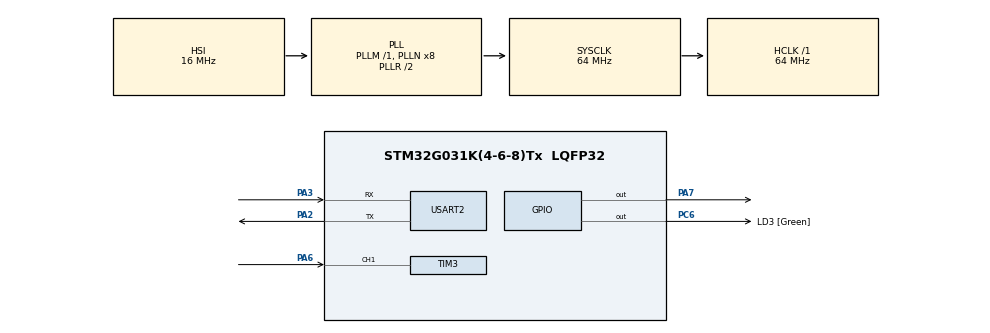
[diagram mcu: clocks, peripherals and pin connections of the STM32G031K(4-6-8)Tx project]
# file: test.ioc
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Mcu.Family=STM32G0
Mcu.Name=STM32G031K(4-6-8)Tx
Mcu.Package=LQFP32
NVIC.TIM3_IRQn=true\:0\:0\:false\:false\:true\:true\:true\:true
PA2.Mode=Asynchronous
PA2.Signal=USART2_TX
PA3.Mode=Asynchronous
PA3.Signal=USART2_RX
PA6.Signal=S_TIM3_CH1
PA7.Signal=GPIO_Output
PC6.GPIO_Label=LD3 [Green]
PC6.Signal=GPIO_Output
ProjectManager.HeapSize=0x200
ProjectManager.StackSize=0x400
ProjectManager.TargetToolchain=STM32CubeIDE
RCC.ADCFreq_Value=64000000
RCC.AHBFreq_Value=64000000
RCC.CortexFreq_Value=64000000
RCC.EXTERNAL_CLOCK_VALUE=12288000
RCC.HCLKFreq_Value=64000000
RCC.HSE_VALUE=8000000
RCC.HSI_VALUE=16000000
RCC.SYSCLKFreq_VALUE=64000000
RCC.SYSCLKSource=RCC_SYSCLKSOURCE_PLLCLK
RCC.VCOOutputFreq_Value=128000000
SH.S_TIM3_CH1.0=TIM3_CH1,Input_Capture1_from_TI1
TIM3.Channel-Input_Capture1_from_TI1=TIM_CHANNEL_1
TIM3.ICPolarity_CH1=TIM_INPUTCHANNELPOLARITY_BOTHEDGE
TIM3.Period=0xffff
TIM3.Prescaler=63
USART2.VirtualMode-Asynchronous=VM_ASYNC
board=NUCLEO-G031K8

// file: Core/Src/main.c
/* USER CODE BEGIN Header */
/**
  ******************************************************************************
  * @file           : main.c
  * @brief          : Main program body
  ******************************************************************************
  * @attention
  *
  * Copyright (c) 2026 STMicroelectronics.
  * All rights reserved.
  *
  * This software is licensed under terms that can be found in the LICENSE file
  * in the root directory of this software component.
  * If no LICENSE file comes with this software, it is provided AS-IS.
  *
  ******************************************************************************
  */
/* USER CODE END Header */
#include "main.h"
#include <stdio.h>

TIM_HandleTypeDef htim3;

UART_HandleTypeDef huart2;

/* USER CODE BEGIN PV */
uint32_t ic_val1 = 0, ic_val2 = 0;
uint8_t is_first_captured = 0;
float distance_cm = 0;
uint32_t last_trigger_tick = 0;
char uart_buf[32];
/* USER CODE END PV */

void SystemClock_Config(void);
static void MX_GPIO_Init(void);
static void MX_TIM3_Init(void);
static void MX_USART2_UART_Init(void);

int main(void)
{

  /* MCU Configuration--------------------------------------------------------*/

  /* Reset of all peripherals, Initializes the Flash interface and the Systick. */
  HAL_Init();

  /* Configure the system clock */
  SystemClock_Config();

  /* Initialize all configured peripherals */
  MX_GPIO_Init();
  MX_TIM3_Init();
  MX_USART2_UART_Init();

  /* Infinite loop */
  while (1)
  {

    /* USER CODE BEGIN 3 */
	  if (HAL_GetTick() - last_trigger_tick >= 40)
	  {
	    last_trigger_tick = HAL_GetTick();

	    HAL_GPIO_WritePin(GPIOA, GPIO_PIN_7, GPIO_PIN_SET);
	    for (volatile int i = 0; i < 160; i++); // ~10us trigger pulse
	    HAL_GPIO_WritePin(GPIOA, GPIO_PIN_7, GPIO_PIN_RESET);

	    int len = sprintf(uart_buf, "Distance: %.1f cm\r\n", distance_cm);
	    HAL_UART_Transmit(&huart2, (uint8_t*)uart_buf, len, 10);
	  }
  }
  /* USER CODE END 3 */
}

void SystemClock_Config(void)
{
  RCC_OscInitTypeDef RCC_OscInitStruct = {0};
  RCC_ClkInitTypeDef RCC_ClkInitStruct = {0};

  /** Configure the main internal regulator output voltage
  */
  HAL_PWREx_ControlVoltageScaling(PWR_REGULATOR_VOLTAGE_SCALE1);

  /** Initializes the RCC Oscillators according to the specified parameters
  * in the RCC_OscInitTypeDef structure.
  */
  RCC_OscInitStruct.OscillatorType = RCC_OSCILLATORTYPE_HSI;
  RCC_OscInitStruct.HSIState = RCC_HSI_ON;
  RCC_OscInitStruct.HSIDiv = RCC_HSI_DIV1;
  RCC_OscInitStruct.HSICalibrationValue = RCC_HSICALIBRATION_DEFAULT;
  RCC_OscInitStruct.PLL.PLLState = RCC_PLL_ON;
  RCC_OscInitStruct.PLL.PLLSource = RCC_PLLSOURCE_HSI;
  RCC_OscInitStruct.PLL.PLLM = RCC_PLLM_DIV1;
  RCC_OscInitStruct.PLL.PLLN = 8;
  RCC_OscInitStruct.PLL.PLLP = RCC_PLLP_DIV2;
  RCC_OscInitStruct.PLL.PLLQ = RCC_PLLQ_DIV2;
  RCC_OscInitStruct.PLL.PLLR = RCC_PLLR_DIV2;
  if (HAL_RCC_OscConfig(&RCC_OscInitStruct) != HAL_OK)
  {
    Error_Handler();
  }

  /** Initializes the CPU, AHB and APB buses clocks
  */
  RCC_ClkInitStruct.ClockType = RCC_CLOCKTYPE_HCLK|RCC_CLOCKTYPE_SYSCLK
                              |RCC_CLOCKTYPE_PCLK1;
  RCC_ClkInitStruct.SYSCLKSource = RCC_SYSCLKSOURCE_PLLCLK;
  RCC_ClkInitStruct.AHBCLKDivider = RCC_SYSCLK_DIV1;
  RCC_ClkInitStruct.APB1CLKDivider = RCC_HCLK_DIV1;

  if (HAL_RCC_ClockConfig(&RCC_ClkInitStruct, FLASH_LATENCY_2) != HAL_OK)
  {
    Error_Handler();
  }
}

static void MX_TIM3_Init(void)
{

  TIM_MasterConfigTypeDef sMasterConfig = {0};
  TIM_IC_InitTypeDef sConfigIC = {0};

  htim3.Instance = TIM3;
  htim3.Init.Prescaler = 63;
  htim3.Init.CounterMode = TIM_COUNTERMODE_UP;
  htim3.Init.Period = 0xffff;
  htim3.Init.ClockDivision = TIM_CLOCKDIVISION_DIV1;
  htim3.Init.AutoReloadPreload = TIM_AUTORELOAD_PRELOAD_DISABLE;
  if (HAL_TIM_IC_Init(&htim3) != HAL_OK)
  {
    Error_Handler();
  }
  sMasterConfig.MasterOutputTrigger = TIM_TRGO_RESET;
  sMasterConfig.MasterSlaveMode = TIM_MASTERSLAVEMODE_DISABLE;
  if (HAL_TIMEx_MasterConfigSynchronization(&htim3, &sMasterConfig) != HAL_OK)
  {
    Error_Handler();
  }
  sConfigIC.ICPolarity = TIM_INPUTCHANNELPOLARITY_BOTHEDGE;
  sConfigIC.ICSelection = TIM_ICSELECTION_DIRECTTI;
  sConfigIC.ICPrescaler = TIM_ICPSC_DIV1;
  sConfigIC.ICFilter = 0;
  if (HAL_TIM_IC_ConfigChannel(&htim3, &sConfigIC, TIM_CHANNEL_1) != HAL_OK)
  {
    Error_Handler();
  }

}

static void MX_USART2_UART_Init(void)
{

  huart2.Instance = USART2;
  huart2.Init.BaudRate = 115200;
  huart2.Init.WordLength = UART_WORDLENGTH_8B;
  huart2.Init.StopBits = UART_STOPBITS_1;
  huart2.Init.Parity = UART_PARITY_NONE;
  huart2.Init.Mode = UART_MODE_TX_RX;
  huart2.Init.HwFlowCtl = UART_HWCONTROL_NONE;
  huart2.Init.OverSampling = UART_OVERSAMPLING_16;
  huart2.Init.OneBitSampling = UART_ONE_BIT_SAMPLE_DISABLE;
  huart2.Init.ClockPrescaler = UART_PRESCALER_DIV1;
  huart2.AdvancedInit.AdvFeatureInit = UART_ADVFEATURE_NO_INIT;
  if (HAL_UART_Init(&huart2) != HAL_OK)
  {
    Error_Handler();
  }

}

static void MX_GPIO_Init(void)
{
  GPIO_InitTypeDef GPIO_InitStruct = {0};

  /* GPIO Ports Clock Enable */
  __HAL_RCC_GPIOA_CLK_ENABLE();
  __HAL_RCC_GPIOC_CLK_ENABLE();

  /*Configure GPIO pin Output Level */
  HAL_GPIO_WritePin(GPIOA, GPIO_PIN_7, GPIO_PIN_RESET);

  /*Configure GPIO pin Output Level */
  HAL_GPIO_WritePin(LD3_GPIO_Port, LD3_Pin, GPIO_PIN_RESET);

  /*Configure GPIO pin : PA7 */
  GPIO_InitStruct.Pin = GPIO_PIN_7;
  GPIO_InitStruct.Mode = GPIO_MODE_OUTPUT_PP;
  GPIO_InitStruct.Pull = GPIO_NOPULL;
  GPIO_InitStruct.Speed = GPIO_SPEED_FREQ_LOW;
  HAL_GPIO_Init(GPIOA, &GPIO_InitStruct);

  /*Configure GPIO pin : LD3_Pin */
  GPIO_InitStruct.Pin = LD3_Pin;
  GPIO_InitStruct.Mode = GPIO_MODE_OUTPUT_PP;
  GPIO_InitStruct.Pull = GPIO_NOPULL;
  GPIO_InitStruct.Speed = GPIO_SPEED_FREQ_LOW;
  HAL_GPIO_Init(LD3_GPIO_Port, &GPIO_InitStruct);

}

/* USER CODE BEGIN 4 */
void HAL_TIM_IC_CaptureCallback(TIM_HandleTypeDef *htim)
{
  if (htim->Instance == TIM3)
  {
    if (is_first_captured == 0)
    {
      ic_val1 = HAL_TIM_ReadCapturedValue(htim, TIM_CHANNEL_1);
      is_first_captured = 1;
      __HAL_TIM_SET_CAPTUREPOLARITY(htim, TIM_CHANNEL_1, TIM_INPUTCHANNELPOLARITY_FALLING);
    }
    else
    {
      ic_val2 = HAL_TIM_ReadCapturedValue(htim, TIM_CHANNEL_1);
      uint32_t pulse_us = (ic_val2 >= ic_val1) ? (ic_val2 - ic_val1) : (0xFFFF - ic_val1 + ic_val2);
      distance_cm = pulse_us / 58.0f;
      is_first_captured = 0;
      __HAL_TIM_SET_CAPTUREPOLARITY(htim, TIM_CHANNEL_1, TIM_INPUTCHANNELPOLARITY_RISING);
    }
  }
}
/* USER CODE END 4 */

void Error_Handler(void)
{
  __disable_irq();
  while (1)
  {
  }
}
